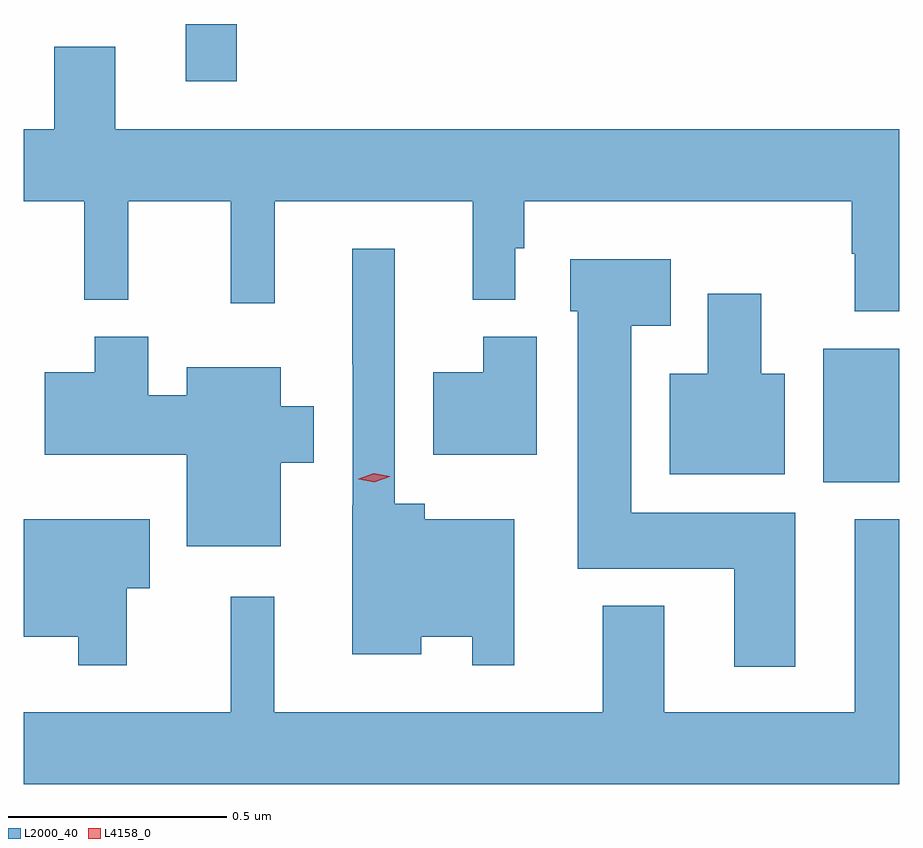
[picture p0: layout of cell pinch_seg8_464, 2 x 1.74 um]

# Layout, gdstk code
import gdstk
lib = gdstk.Library(unit=1e-6, precision=1e-09)
def R(c, l, rs):  # rectangles x0, y0, x1, y1
    for r in rs: c.add(gdstk.rectangle(r[:2], r[2:], *l))
def P(c, l, *ps):  # polygons
    for p in ps: c.add(gdstk.Polygon(p, *l))
L2000_40 = (2000, 40)
L4158_0 = (4158, 0)

pinch_seg8_464 = lib.new_cell('pinch_seg8_464')
R(pinch_seg8_464, L2000_40, [(221.423,1135.838,221.596,1136.143), (219.966,1136.754,220.082,1136.885)])
P(pinch_seg8_464, L2000_40, [(221.596,1136.644),(219.805,1136.644),(219.805,1136.833),(219.665,1136.833),(219.665,1136.644),(219.596,1136.644),(219.596,1136.48),(219.734,1136.48),(219.734,1136.255),(219.834,1136.255),(219.834,1136.48),(220.069,1136.48),(220.069,1136.247),(220.169,1136.247),(220.169,1136.48),(220.622,1136.48),(220.622,1136.255),(220.719,1136.255),(220.719,1136.373),(220.739,1136.373),(220.739,1136.48),(221.488,1136.48),(221.488,1136.36),(221.495,1136.36),(221.495,1136.228),(221.596,1136.228)],
  [(220.716,1135.753),(220.512,1135.753),(220.512,1135.789),(220.443,1135.789),(220.443,1136.371),(220.346,1136.371),(220.346,1136.107),(220.347,1136.107),(220.347,1135.785),(220.346,1135.785),(220.346,1135.445),(220.504,1135.445),(220.504,1135.484),(220.62,1135.484),(220.62,1135.419),(220.716,1135.419)],
  [(221.359,1135.768),(220.984,1135.768),(220.984,1136.195),(221.074,1136.195),(221.074,1136.347),(220.844,1136.347),(220.844,1136.229),(220.862,1136.229),(220.862,1135.64),(221.219,1135.64),(221.219,1135.416),(221.359,1135.416)],
  [(221.335,1136.086),(221.281,1136.086),(221.281,1136.269),(221.159,1136.269),(221.159,1136.086),(221.072,1136.086),(221.072,1135.856),(221.335,1135.856)],
  [(220.183,1135.882),(220.258,1135.882),(220.258,1136.011),(220.183,1136.011),(220.183,1136.101),(219.968,1136.101),(219.968,1136.037),(219.88,1136.037),(219.88,1136.17),(219.758,1136.17),(219.758,1136.089),(219.644,1136.089),(219.644,1135.901),(219.968,1135.901),(219.968,1135.691),(220.183,1135.691)],
  [(220.768,1136.17),(220.646,1136.17),(220.646,1136.089),(220.532,1136.089),(220.532,1135.901),(220.768,1135.901)],
  [(219.831,1135.595),(219.883,1135.595),(219.883,1135.753),(219.596,1135.753),(219.596,1135.484),(219.72,1135.484),(219.72,1135.419),(219.831,1135.419)],
  [(221.596,1135.753),(221.495,1135.753),(221.495,1135.312),(221.059,1135.312),(221.059,1135.555),(220.919,1135.555),(220.919,1135.312),(220.168,1135.312),(220.168,1135.576),(220.069,1135.576),(220.069,1135.312),(219.596,1135.312),(219.596,1135.148),(221.596,1135.148)])
P(pinch_seg8_464, L4158_0, [(220.397,1135.838),(220.361,1135.845),(220.36,1135.845),(220.361,1135.846),(220.396,1135.858),(220.432,1135.851),(220.432,1135.851),(220.432,1135.85)])

lib.write_gds('pinch_seg8_464.gds')
